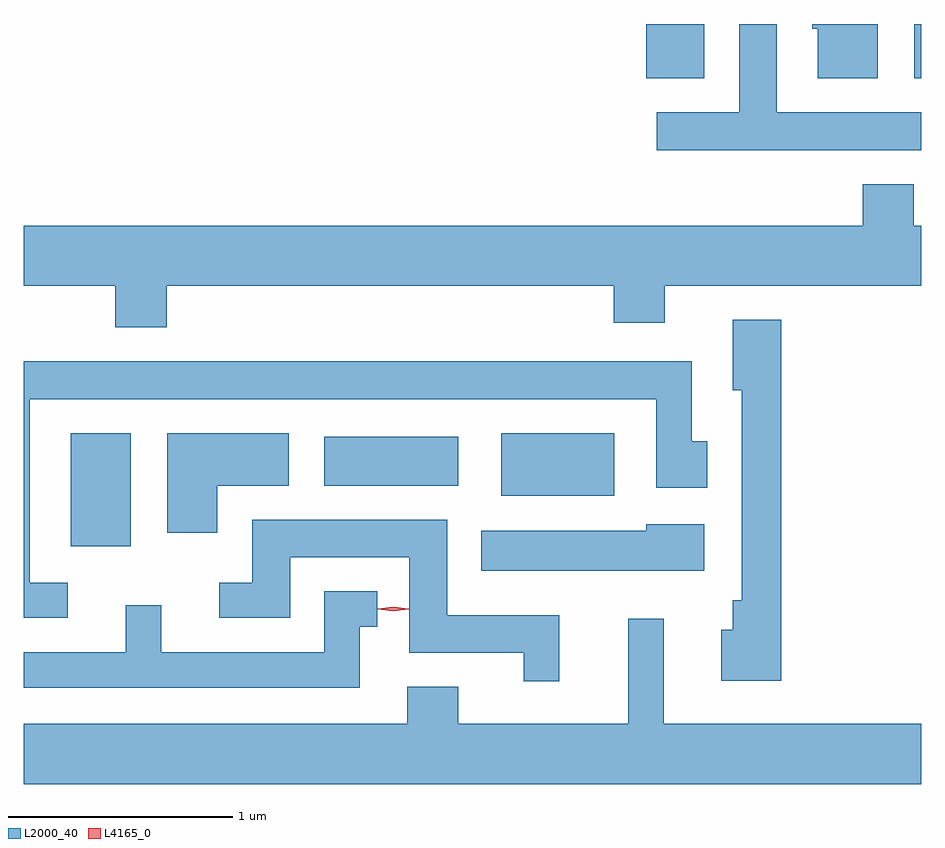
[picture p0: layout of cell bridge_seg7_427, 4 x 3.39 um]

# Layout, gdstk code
import gdstk
lib = gdstk.Library(unit=1e-6, precision=1e-09)
def R(c, l, rs):  # rectangles x0, y0, x1, y1
    for r in rs: c.add(gdstk.rectangle(r[:2], r[2:], *l))
def P(c, l, *ps):  # polygons
    for p in ps: c.add(gdstk.Polygon(p, *l))
L2000_40 = (2000, 40)
L4165_0 = (4165, 0)

bridge_seg7_427 = lib.new_cell('bridge_seg7_427')
R(bridge_seg7_427, L2000_40, [(1239.081,1697.616,1239.349,1698.119), (1241.001,1697.841,1241.504,1698.119), (1240.211,1697.886,1240.809,1698.104), (1241.646,1699.701,1241.904,1699.943), (1242.841,1699.701,1242.872,1699.943)])
P(bridge_seg7_427, L2000_40, [(1242.679,1699.943),(1242.386,1699.943),(1242.386,1699.921),(1242.411,1699.921),(1242.411,1699.701),(1242.679,1699.701)],
  [(1242.872,1699.549),(1242.229,1699.549),(1242.229,1699.943),(1242.061,1699.943),(1242.061,1699.549),(1241.693,1699.549),(1241.693,1699.381),(1242.872,1699.381)],
  [(1239.509,1698.776),(1241.501,1698.776),(1241.501,1698.611),(1241.729,1698.611),(1241.729,1698.776),(1242.872,1698.776),(1242.872,1699.044),(1242.839,1699.044),(1242.839,1699.229),(1242.611,1699.229),(1242.611,1699.044),(1238.872,1699.044),(1238.872,1698.776),(1239.281,1698.776),(1239.281,1698.591),(1239.509,1698.591)],
  [(1242.249,1698.624),(1242.031,1698.624),(1242.031,1698.311),(1242.071,1698.311),(1242.071,1697.374),(1242.031,1697.374),(1242.031,1697.244),(1241.981,1697.244),(1241.981,1697.016),(1242.249,1697.016)],
  [(1239.068,1697.454),(1238.899,1697.454),(1238.899,1698.271),(1241.691,1698.271),(1241.691,1697.876),(1241.919,1697.876),(1241.919,1698.084),(1241.849,1698.084),(1241.849,1698.439),(1238.872,1698.439),(1238.872,1697.296),(1239.068,1697.296)],
  [(1239.734,1697.886),(1240.054,1697.886),(1240.054,1698.119),(1239.511,1698.119),(1239.511,1697.676),(1239.734,1697.676)],
  [(1241.259,1697.309),(1240.759,1697.309),(1240.759,1697.734),(1239.891,1697.734),(1239.891,1697.454),(1239.743,1697.454),(1239.743,1697.296),(1240.059,1697.296),(1240.059,1697.566),(1240.591,1697.566),(1240.591,1697.141),(1241.101,1697.141),(1241.101,1697.013),(1241.259,1697.013)],
  [(1241.904,1697.714),(1241.646,1697.714),(1241.646,1697.684),(1240.911,1697.684),(1240.911,1697.506),(1241.904,1697.506)],
  [(1240.369,1697.256),(1240.448,1697.256),(1240.448,1697.414),(1240.211,1697.414),(1240.211,1697.144),(1239.484,1697.144),(1239.484,1697.353),(1239.326,1697.353),(1239.326,1697.144),(1238.872,1697.144),(1238.872,1696.986),(1240.369,1696.986)],
  [(1242.872,1696.824),(1241.724,1696.824),(1241.724,1697.293),(1241.566,1697.293),(1241.566,1696.824),(1240.809,1696.824),(1240.809,1696.989),(1240.581,1696.989),(1240.581,1696.824),(1238.872,1696.824),(1238.872,1696.556),(1242.872,1696.556)])
P(bridge_seg7_427, L4165_0, [(1240.518,1697.326),(1240.449,1697.334),(1240.449,1697.335),(1240.449,1697.336),(1240.518,1697.345),(1240.588,1697.336),(1240.588,1697.336),(1240.588,1697.335)])

lib.write_gds('bridge_seg7_427.gds')
